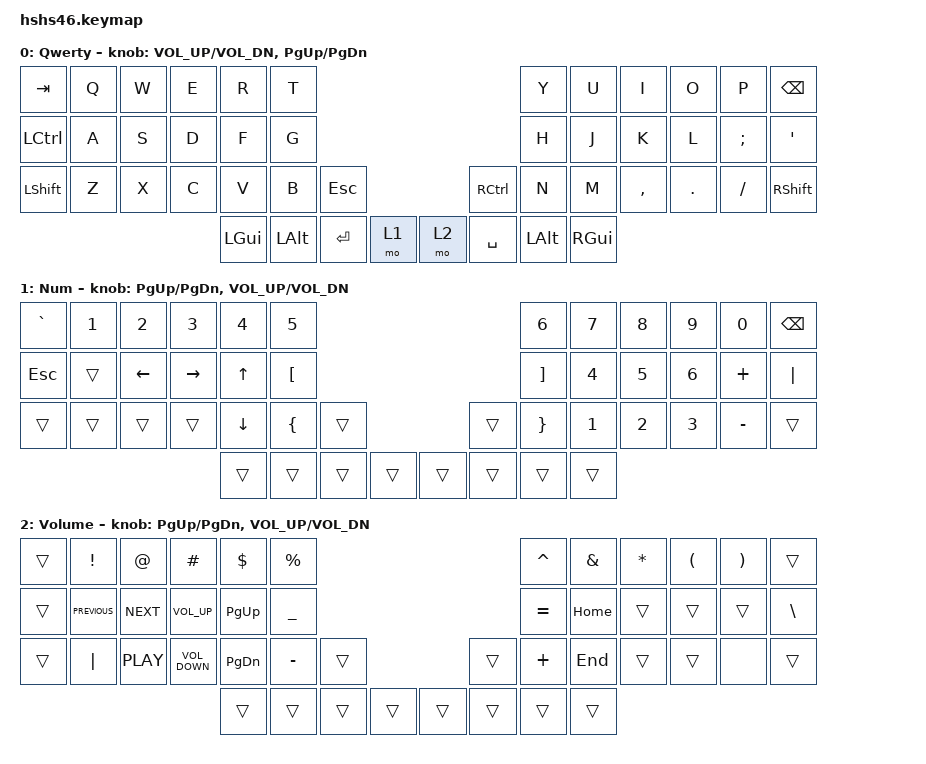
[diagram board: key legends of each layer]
/*
 * Copyright (c) 2021-2022 The ZMK Contributors
 *
 * SPDX-License-Identifier: MIT
 */

#include <behaviors.dtsi>
#include <dt-bindings/zmk/keys.h>

#define QWERTY_L 0
#define DVORAK_L 1
#define COLEMK_L 2
#define NAV_L    3
#define SYM_L    4
#define ADJ_L    5
#define Undo   LC(Z)
#define Cut    LC(X)
#define Copy   LC(C)
#define Paste  LC(V)
#define Redo   LC(Y)

/ {
    keymap {
        compatible = "zmk,keymap";

        QWERTY {
            /* QWERTY
* -------------------------------------------------------------------------------------------------------------------------------------
* | `     |   Q   |   W   |   E   |   R   |   T   |-----------------------------------|   Y   |   U   |   I   |   O   |   P   | BKSPC |
* | TAB   |   A   |   S   |   D   |   F   |   G   |-----------------------------------|   H   |   J   |   K   |   L   |   ;   | ENTER |
* | CTRL  |   Z   |   X   |   C   |   V   |   B   |  ESC  |-------------------|  CAPS |   N   |   M   |   ,   |   .   |   /   |   '   |
*                                 |  GUI  |  ALT  |SK SHFT|  Nav  |---|  Sym  | SPACE |  ALT  |  GUI  |
*/

            bindings = <
&kp TAB           &kp Q  &kp W  &kp E  &kp R     &kp T                                                   &kp Y     &kp U     &kp I      &kp O    &kp P      &kp BSPC
&kp LEFT_CONTROL  &kp A  &kp S  &kp D  &kp F     &kp G                                                   &kp H     &kp J     &kp K      &kp L    &kp SEMI   &kp SQT
&kp LEFT_SHIFT    &kp Z  &kp X  &kp C  &kp V     &kp B     &kp ESC                    &kp RIGHT_CONTROL  &kp N     &kp M     &kp COMMA  &kp DOT  &kp SLASH  &kp RIGHT_SHIFT
                                       &kp LGUI  &kp LALT  &kp ENTER  &mo 1    &mo 2  &kp SPACE          &kp LALT  &kp RGUI
            >;

            display-name = "Qwerty";
            sensor-bindings = <&inc_dec_kp C_VOL_UP C_VOL_DN &inc_dec_kp PG_UP PG_DN>;
        };

        NUM {
            /* NAV
* -------------------------------------------------------------------------------------------------------------------------------------
* | Copy  |   1   |   2   |   3   |   4   |   5   |-----------------------------------|   6   |   7   |   8   |   9   |   0   | BSPC  |
* | Cut   |  GUI  |  Alt  | Ctrl  | Shift | Paste |-----------------------------------| PG UP |  Left |  Up   |  Down | Right | PG DN |
* | Ctrl  |  F1   |  F2   |  F3   |  F4   |  F5   |  UnDo |-------------------| ReDo  |  F6   |  F7   |  F8   |  F9   |  F10  | Ctrl  |
*                                 |       |       |       |       |---| ADJ_L |       |       |       |
*/

            bindings = <
&kp GRAVE  &kp N1  &kp N2          &kp N3           &kp N4          &kp N5                                              &kp N6             &kp N7        &kp N8        &kp N9        &kp N0     &kp BACKSPACE
&kp ESC    &trans  &kp LEFT_ARROW  &kp RIGHT_ARROW  &kp UP_ARROW    &kp LEFT_BRACKET                                    &kp RIGHT_BRACKET  &kp NUMBER_4  &kp NUMBER_5  &kp NUMBER_6  &kp PLUS   &kp PIPE
&trans     &trans  &trans          &trans           &kp DOWN_ARROW  &kp LEFT_BRACE    &trans                    &trans  &kp RIGHT_BRACE    &kp NUMBER_1  &kp NUMBER_2  &kp NUMBER_3  &kp MINUS  &trans
                                                    &trans          &trans            &trans  &trans    &trans  &trans  &trans             &trans
            >;

            display-name = "Num";
            sensor-bindings = <&inc_dec_kp PG_UP PG_DN &inc_dec_kp C_VOL_UP C_VOL_DN>;
        };

        VOLUME {
            /* SYM
* -------------------------------------------------------------------------------------------------------------------------------------
* | INS   |   !   |   @   |   #   |   $   |   %   |-----------------------------------|   ^   |   &   |   *   |   (   |   )   | BSPC  |
* |       |   \   |   -   |   =   |   [   |   ]   |-----------------------------------| HOME  | Shift | Ctrl  | Alt   | Gui   | END   |
* | Ctrl  |   |   |   _   |   +   |   {   |   }   |SkAltGr|-------------------| MENU  | Mute  | Vol-  | Vol+  | Play  |       | Ctrl  |
*                                 |       |       |       |  ADJ_L |---|      |       |       |       |
*/

            bindings = <
&trans  &kp EXCL        &kp AT      &kp HASH           &kp DOLLAR     &kp PERCENT                                    &kp CARET  &kp AMPS  &kp ASTRK  &kp LPAR  &kp RPAR  &trans
&trans  &kp K_PREVIOUS  &kp C_NEXT  &kp C_VOLUME_UP    &kp PAGE_UP    &kp UNDER                                      &kp EQUAL  &kp HOME  &trans     &trans    &trans    &kp BACKSLASH
&trans  &kp PIPE        &kp C_PLAY  &kp C_VOLUME_DOWN  &kp PAGE_DOWN  &kp MINUS    &trans                    &trans  &kp PLUS   &kp END   &trans     &trans    &none     &trans
                                                       &trans         &trans       &trans  &trans    &trans  &trans  &trans     &trans
            >;

            display-name = "Volume";
            sensor-bindings = <&inc_dec_kp PG_UP PG_DN &inc_dec_kp C_VOL_UP C_VOL_DN>;
        };
    };
};
